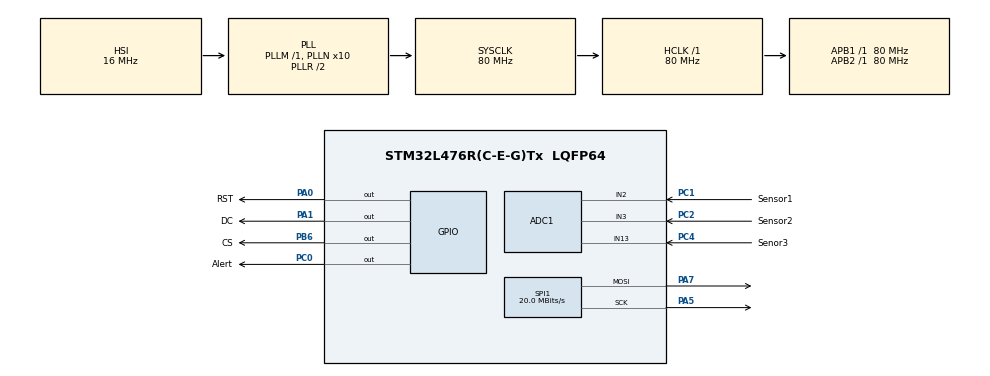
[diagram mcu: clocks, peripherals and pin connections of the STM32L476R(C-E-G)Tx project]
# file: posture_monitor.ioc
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ADC1.Channel-2\#ChannelRegularConversion=ADC_CHANNEL_2
ADC1.Channel-3\#ChannelRegularConversion=ADC_CHANNEL_3
ADC1.Channel-4\#ChannelRegularConversion=ADC_CHANNEL_13
ADC1.ContinuousConvMode=ENABLE
ADC1.DMAContinuousRequests=ENABLE
ADC1.NbrOfConversion=3
ADC1.NbrOfConversionFlag=1
ADC1.OffsetNumber-2\#ChannelRegularConversion=ADC_OFFSET_NONE
ADC1.OffsetNumber-3\#ChannelRegularConversion=ADC_OFFSET_NONE
ADC1.OffsetNumber-4\#ChannelRegularConversion=ADC_OFFSET_NONE
ADC1.Rank-2\#ChannelRegularConversion=1
ADC1.Rank-3\#ChannelRegularConversion=2
ADC1.Rank-4\#ChannelRegularConversion=3
ADC1.SamplingTime-2\#ChannelRegularConversion=ADC_SAMPLETIME_247CYCLES_5
ADC1.SamplingTime-3\#ChannelRegularConversion=ADC_SAMPLETIME_247CYCLES_5
ADC1.SamplingTime-4\#ChannelRegularConversion=ADC_SAMPLETIME_247CYCLES_5
ADC1.master=1
Dma.ADC1.0.Direction=DMA_PERIPH_TO_MEMORY
Dma.ADC1.0.Instance=DMA1_Channel1
Dma.ADC1.0.MemDataAlignment=DMA_MDATAALIGN_HALFWORD
Dma.ADC1.0.MemInc=DMA_MINC_ENABLE
Dma.ADC1.0.Mode=DMA_CIRCULAR
Dma.ADC1.0.PeriphDataAlignment=DMA_PDATAALIGN_HALFWORD
Dma.ADC1.0.PeriphInc=DMA_PINC_DISABLE
Dma.ADC1.0.Priority=DMA_PRIORITY_LOW
Dma.Request0=ADC1
Mcu.Family=STM32L4
Mcu.Name=STM32L476R(C-E-G)Tx
Mcu.Package=LQFP64
NVIC.PriorityGroup=NVIC_PRIORITYGROUP_4
NVIC.TIM1_UP_TIM16_IRQn=true\:0\:0\:false\:false\:true\:true\:true\:true
PA0.GPIO_Label=RST
PA0.Signal=GPIO_Output
PA1.GPIO_Label=DC
PA1.Signal=GPIO_Output
PA13\ (JTMS-SWDIO).GPIO_Label=TMS
PA13\ (JTMS-SWDIO).Mode=Serial_Wire
PA13\ (JTMS-SWDIO).Signal=SYS_JTMS-SWDIO
PA14\ (JTCK-SWCLK).GPIO_Label=TCK
PA14\ (JTCK-SWCLK).Mode=Serial_Wire
PA14\ (JTCK-SWCLK).Signal=SYS_JTCK-SWCLK
PA5.Mode=TX_Only_Simplex_Unidirect_Master
PA5.Signal=SPI1_SCK
PA7.Mode=TX_Only_Simplex_Unidirect_Master
PA7.Signal=SPI1_MOSI
PB3\ (JTDO-TRACESWO).GPIO_Label=SWO
PB3\ (JTDO-TRACESWO).Signal=SYS_JTDO-SWO
PB6.GPIO_Label=CS
PB6.Signal=GPIO_Output
PC0.GPIO_Label=Alert
PC0.Signal=GPIO_Output
PC1.GPIO_Label=Sensor1
PC1.Signal=ADCx_IN2
PC14-OSC32_IN\ (PC14).Mode=LSE-External-Oscillator
PC14-OSC32_IN\ (PC14).Signal=RCC_OSC32_IN
PC15-OSC32_OUT\ (PC15).Mode=LSE-External-Oscillator
PC15-OSC32_OUT\ (PC15).Signal=RCC_OSC32_OUT
PC2.GPIO_Label=Sensor2
PC2.Signal=ADCx_IN3
PC4.GPIO_Label=Senor3
PC4.Signal=ADCx_IN13
PH0-OSC_IN\ (PH0).Signal=RCC_OSC_IN
PH1-OSC_OUT\ (PH1).Signal=RCC_OSC_OUT
ProjectManager.HeapSize=0x200
ProjectManager.StackSize=0x400
ProjectManager.TargetToolchain=CMake
RCC.ADCFreq_Value=64000000
RCC.AHBFreq_Value=80000000
RCC.APB1Freq_Value=80000000
RCC.APB1TimFreq_Value=80000000
RCC.APB2Freq_Value=80000000
RCC.APB2TimFreq_Value=80000000
RCC.CortexFreq_Value=80000000
RCC.HCLKFreq_Value=80000000
RCC.HSE_VALUE=8000000
RCC.HSI_VALUE=16000000
RCC.MSI_VALUE=4000000
RCC.PLLN=10
RCC.PLLSourceVirtual=RCC_PLLSOURCE_HSI
RCC.PREFETCH_ENABLE=1
RCC.SYSCLKFreq_VALUE=80000000
RCC.SYSCLKSource=RCC_SYSCLKSOURCE_PLLCLK
RCC.USBFreq_Value=64000000
RCC.VCOOutputFreq_Value=160000000
SH.ADCx_IN13.0=ADC1_IN13,IN13-Single-Ended
SH.ADCx_IN2.0=ADC1_IN2,IN2-Single-Ended
SH.ADCx_IN3.0=ADC1_IN3,IN3-Single-Ended
SPI1.BaudRatePrescaler=SPI_BAUDRATEPRESCALER_4
SPI1.CalculateBaudRate=20.0 MBits/s
SPI1.DataSize=SPI_DATASIZE_8BIT
SPI1.Direction=SPI_DIRECTION_2LINES
SPI1.Mode=SPI_MODE_MASTER
SPI1.VirtualType=VM_MASTER
TIM16.Period=99
TIM16.Prescaler=7999
VP_TIM16_VS_ClockSourceINT.Mode=Enable_Timer
board=NUCLEO-L476RG

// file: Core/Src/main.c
/* USER CODE BEGIN Header */
/**
  ******************************************************************************
  * @file           : main.c
  * @brief          : Main program body
  ******************************************************************************
  * @attention
  *
  * Copyright (c) 2026 STMicroelectronics.
  * All rights reserved.
  *
  * This software is licensed under terms that can be found in the LICENSE file
  * in the root directory of this software component.
  * If no LICENSE file comes with this software, it is provided AS-IS.
  *
  ******************************************************************************
  */
/* USER CODE END Header */
#include "main.h"

/* USER CODE BEGIN Includes */
#include "functions.h"
/* USER CODE END Includes */

ADC_HandleTypeDef hadc1;
DMA_HandleTypeDef hdma_adc1;

SPI_HandleTypeDef hspi1;

TIM_HandleTypeDef htim16;

/* USER CODE BEGIN PV */
uint16_t sensor_step_number[3]; // One spot for each force sensor
volatile bool timer_flag;
/* USER CODE END PV */

void SystemClock_Config(void);
static void MX_GPIO_Init(void);
static void MX_DMA_Init(void);
static void MX_SPI1_Init(void);
static void MX_ADC1_Init(void);
static void MX_TIM16_Init(void);

int main(void)
{

  /* MCU Configuration--------------------------------------------------------*/

  /* Reset of all peripherals, Initializes the Flash interface and the Systick. */
  HAL_Init();

  /* Configure the system clock */
  SystemClock_Config();

  /* Initialize all configured peripherals */
  MX_GPIO_Init();
  MX_DMA_Init();
  MX_SPI1_Init();
  MX_ADC1_Init();
  MX_TIM16_Init();
  /* USER CODE BEGIN 2 */
  ST7735_Init();
  HAL_TIM_Base_Start_IT(&htim16); // Start Timer16
  /* USER CODE END 2 */

  /* Infinite loop */
  /* USER CODE BEGIN WHILE */
  HAL_ADC_Start_DMA(&hadc1, (uint32_t*)sensor_step_number, 3);
  while (1)
  {
	  //Every time the timer goes off, a flag is set and we calculate new values for the display
	  	  //We use a timer instead of recalculating the vales each cycle b/c we don't need it to be every single time the main loop is ran
	  if(timer_flag == true){
			timer_flag = false; //Set timer flag back to false

			convertStepToPercentage(sensor_step_number, sensor_percentage); //Convert steps to percentage
			convertStepToRGB(sensor_step_number, sensor_RGB); //Convert steps into RGB greyscale values for the display
			convertPercentageToWeightedPercentage(sensor_percentage, sensor_weighted_percentage); //Convert raw percentage to a weigthed percentage

			//Posture alert if statement
			if(checkIfBadPosture(sensor_percentage, sensor_weighted_percentage) == true){
				HAL_GPIO_WritePin(Alert_GPIO_Port, Alert_Pin, GPIO_PIN_SET); //Set off alert if posture is bad
			}
			else{
				HAL_GPIO_WritePin(Alert_GPIO_Port, Alert_Pin, GPIO_PIN_RESET); //Reset alert if posture is good
			}
	  }

	  //Writing to frame the top left quadrant (left sensor) w/ it's background color and percentage
	  ST7735_WriteColorQuadrantFrame(sensor_RGB[0], frame, 1);
	  ST7735_WritePercentageToFrame(sensor_weighted_percentage[0], frame, 1);

	  //Writing to frame the top right quadrant (right sensor) w/ it's background color and percentage
	  ST7735_WriteColorQuadrantFrame(sensor_RGB[1], frame, 2);
	  ST7735_WritePercentageToFrame(sensor_weighted_percentage[1], frame, 2);

	  //Writing to frame the bottom half (back sensor) w/ it's background color and percentage
	  ST7735_WriteColorQuadrantFrame(sensor_RGB[2], frame, 3);
	  ST7735_WritePercentageToFrame(sensor_percentage[2], frame, 3);

	  //Send frame to be drawn
	  ST7735_DrawScreen(frame);

	  // Delay 1 ms
	  HAL_Delay(1);

    /* USER CODE END WHILE */

  }
}

void SystemClock_Config(void)
{
  RCC_OscInitTypeDef RCC_OscInitStruct = {0};
  RCC_ClkInitTypeDef RCC_ClkInitStruct = {0};

  /** Configure the main internal regulator output voltage
  */
  if (HAL_PWREx_ControlVoltageScaling(PWR_REGULATOR_VOLTAGE_SCALE1) != HAL_OK)
  {
    Error_Handler();
  }

  /** Initializes the RCC Oscillators according to the specified parameters
  * in the RCC_OscInitTypeDef structure.
  */
  RCC_OscInitStruct.OscillatorType = RCC_OSCILLATORTYPE_HSI;
  RCC_OscInitStruct.HSIState = RCC_HSI_ON;
  RCC_OscInitStruct.HSICalibrationValue = RCC_HSICALIBRATION_DEFAULT;
  RCC_OscInitStruct.PLL.PLLState = RCC_PLL_ON;
  RCC_OscInitStruct.PLL.PLLSource = RCC_PLLSOURCE_HSI;
  RCC_OscInitStruct.PLL.PLLM = 1;
  RCC_OscInitStruct.PLL.PLLN = 10;
  RCC_OscInitStruct.PLL.PLLP = RCC_PLLP_DIV7;
  RCC_OscInitStruct.PLL.PLLQ = RCC_PLLQ_DIV2;
  RCC_OscInitStruct.PLL.PLLR = RCC_PLLR_DIV2;
  if (HAL_RCC_OscConfig(&RCC_OscInitStruct) != HAL_OK)
  {
    Error_Handler();
  }

  /** Initializes the CPU, AHB and APB buses clocks
  */
  RCC_ClkInitStruct.ClockType = RCC_CLOCKTYPE_HCLK|RCC_CLOCKTYPE_SYSCLK
                              |RCC_CLOCKTYPE_PCLK1|RCC_CLOCKTYPE_PCLK2;
  RCC_ClkInitStruct.SYSCLKSource = RCC_SYSCLKSOURCE_PLLCLK;
  RCC_ClkInitStruct.AHBCLKDivider = RCC_SYSCLK_DIV1;
  RCC_ClkInitStruct.APB1CLKDivider = RCC_HCLK_DIV1;
  RCC_ClkInitStruct.APB2CLKDivider = RCC_HCLK_DIV1;

  if (HAL_RCC_ClockConfig(&RCC_ClkInitStruct, FLASH_LATENCY_4) != HAL_OK)
  {
    Error_Handler();
  }
}

static void MX_ADC1_Init(void)
{

  ADC_MultiModeTypeDef multimode = {0};
  ADC_ChannelConfTypeDef sConfig = {0};

  /** Common config
  */
  hadc1.Instance = ADC1;
  hadc1.Init.ClockPrescaler = ADC_CLOCK_ASYNC_DIV1;
  hadc1.Init.Resolution = ADC_RESOLUTION_12B;
  hadc1.Init.DataAlign = ADC_DATAALIGN_RIGHT;
  hadc1.Init.ScanConvMode = ADC_SCAN_ENABLE;
  hadc1.Init.EOCSelection = ADC_EOC_SINGLE_CONV;
  hadc1.Init.LowPowerAutoWait = DISABLE;
  hadc1.Init.ContinuousConvMode = ENABLE;
  hadc1.Init.NbrOfConversion = 3;
  hadc1.Init.DiscontinuousConvMode = DISABLE;
  hadc1.Init.ExternalTrigConv = ADC_SOFTWARE_START;
  hadc1.Init.ExternalTrigConvEdge = ADC_EXTERNALTRIGCONVEDGE_NONE;
  hadc1.Init.DMAContinuousRequests = ENABLE;
  hadc1.Init.Overrun = ADC_OVR_DATA_PRESERVED;
  hadc1.Init.OversamplingMode = DISABLE;
  if (HAL_ADC_Init(&hadc1) != HAL_OK)
  {
    Error_Handler();
  }

  /** Configure the ADC multi-mode
  */
  multimode.Mode = ADC_MODE_INDEPENDENT;
  if (HAL_ADCEx_MultiModeConfigChannel(&hadc1, &multimode) != HAL_OK)
  {
    Error_Handler();
  }

  /** Configure Regular Channel
  */
  sConfig.Channel = ADC_CHANNEL_2;
  sConfig.Rank = ADC_REGULAR_RANK_1;
  sConfig.SamplingTime = ADC_SAMPLETIME_247CYCLES_5;
  sConfig.SingleDiff = ADC_SINGLE_ENDED;
  sConfig.OffsetNumber = ADC_OFFSET_NONE;
  sConfig.Offset = 0;
  if (HAL_ADC_ConfigChannel(&hadc1, &sConfig) != HAL_OK)
  {
    Error_Handler();
  }

  /** Configure Regular Channel
  */
  sConfig.Channel = ADC_CHANNEL_3;
  sConfig.Rank = ADC_REGULAR_RANK_2;
  if (HAL_ADC_ConfigChannel(&hadc1, &sConfig) != HAL_OK)
  {
    Error_Handler();
  }

  /** Configure Regular Channel
  */
  sConfig.Channel = ADC_CHANNEL_13;
  sConfig.Rank = ADC_REGULAR_RANK_3;
  if (HAL_ADC_ConfigChannel(&hadc1, &sConfig) != HAL_OK)
  {
    Error_Handler();
  }

}

static void MX_SPI1_Init(void)
{

  /* SPI1 parameter configuration*/
  hspi1.Instance = SPI1;
  hspi1.Init.Mode = SPI_MODE_MASTER;
  hspi1.Init.Direction = SPI_DIRECTION_2LINES;
  hspi1.Init.DataSize = SPI_DATASIZE_8BIT;
  hspi1.Init.CLKPolarity = SPI_POLARITY_LOW;
  hspi1.Init.CLKPhase = SPI_PHASE_1EDGE;
  hspi1.Init.NSS = SPI_NSS_SOFT;
  hspi1.Init.BaudRatePrescaler = SPI_BAUDRATEPRESCALER_4;
  hspi1.Init.FirstBit = SPI_FIRSTBIT_MSB;
  hspi1.Init.TIMode = SPI_TIMODE_DISABLE;
  hspi1.Init.CRCCalculation = SPI_CRCCALCULATION_DISABLE;
  hspi1.Init.CRCPolynomial = 7;
  hspi1.Init.CRCLength = SPI_CRC_LENGTH_DATASIZE;
  hspi1.Init.NSSPMode = SPI_NSS_PULSE_ENABLE;
  if (HAL_SPI_Init(&hspi1) != HAL_OK)
  {
    Error_Handler();
  }

}

static void MX_TIM16_Init(void)
{

  htim16.Instance = TIM16;
  htim16.Init.Prescaler = 7999;
  htim16.Init.CounterMode = TIM_COUNTERMODE_UP;
  htim16.Init.Period = 99;
  htim16.Init.ClockDivision = TIM_CLOCKDIVISION_DIV1;
  htim16.Init.RepetitionCounter = 0;
  htim16.Init.AutoReloadPreload = TIM_AUTORELOAD_PRELOAD_DISABLE;
  if (HAL_TIM_Base_Init(&htim16) != HAL_OK)
  {
    Error_Handler();
  }

}

static void MX_DMA_Init(void)
{

  /* DMA controller clock enable */
  __HAL_RCC_DMA1_CLK_ENABLE();

}

static void MX_GPIO_Init(void)
{
  GPIO_InitTypeDef GPIO_InitStruct = {0};

  /* GPIO Ports Clock Enable */
  __HAL_RCC_GPIOC_CLK_ENABLE();
  __HAL_RCC_GPIOH_CLK_ENABLE();
  __HAL_RCC_GPIOA_CLK_ENABLE();
  __HAL_RCC_GPIOB_CLK_ENABLE();

  /*Configure GPIO pin Output Level */
  HAL_GPIO_WritePin(Alert_GPIO_Port, Alert_Pin, GPIO_PIN_RESET);

  /*Configure GPIO pin Output Level */
  HAL_GPIO_WritePin(GPIOA, RST_Pin|DC_Pin, GPIO_PIN_RESET);

  /*Configure GPIO pin Output Level */
  HAL_GPIO_WritePin(CS_GPIO_Port, CS_Pin, GPIO_PIN_RESET);

  /*Configure GPIO pin : Alert_Pin */
  GPIO_InitStruct.Pin = Alert_Pin;
  GPIO_InitStruct.Mode = GPIO_MODE_OUTPUT_PP;
  GPIO_InitStruct.Pull = GPIO_NOPULL;
  GPIO_InitStruct.Speed = GPIO_SPEED_FREQ_LOW;
  HAL_GPIO_Init(Alert_GPIO_Port, &GPIO_InitStruct);

  /*Configure GPIO pins : RST_Pin DC_Pin */
  GPIO_InitStruct.Pin = RST_Pin|DC_Pin;
  GPIO_InitStruct.Mode = GPIO_MODE_OUTPUT_PP;
  GPIO_InitStruct.Pull = GPIO_NOPULL;
  GPIO_InitStruct.Speed = GPIO_SPEED_FREQ_LOW;
  HAL_GPIO_Init(GPIOA, &GPIO_InitStruct);

  /*Configure GPIO pin : CS_Pin */
  GPIO_InitStruct.Pin = CS_Pin;
  GPIO_InitStruct.Mode = GPIO_MODE_OUTPUT_PP;
  GPIO_InitStruct.Pull = GPIO_NOPULL;
  GPIO_InitStruct.Speed = GPIO_SPEED_FREQ_LOW;
  HAL_GPIO_Init(CS_GPIO_Port, &GPIO_InitStruct);

}

/* USER CODE BEGIN 4 */

//Timer interrupt
void HAL_TIM_PeriodElapsedCallback(TIM_HandleTypeDef *htim)
{
	// Check which timer triggered this callback
	if (htim == &htim16) // if the triggered timer was Timer 16
	{
		timer_flag = true; //Set the global timer flag and leave interrupt
	}
}

/* USER CODE END 4 */

void Error_Handler(void)
{
  __disable_irq();
  while (1)
  {
  }
}
